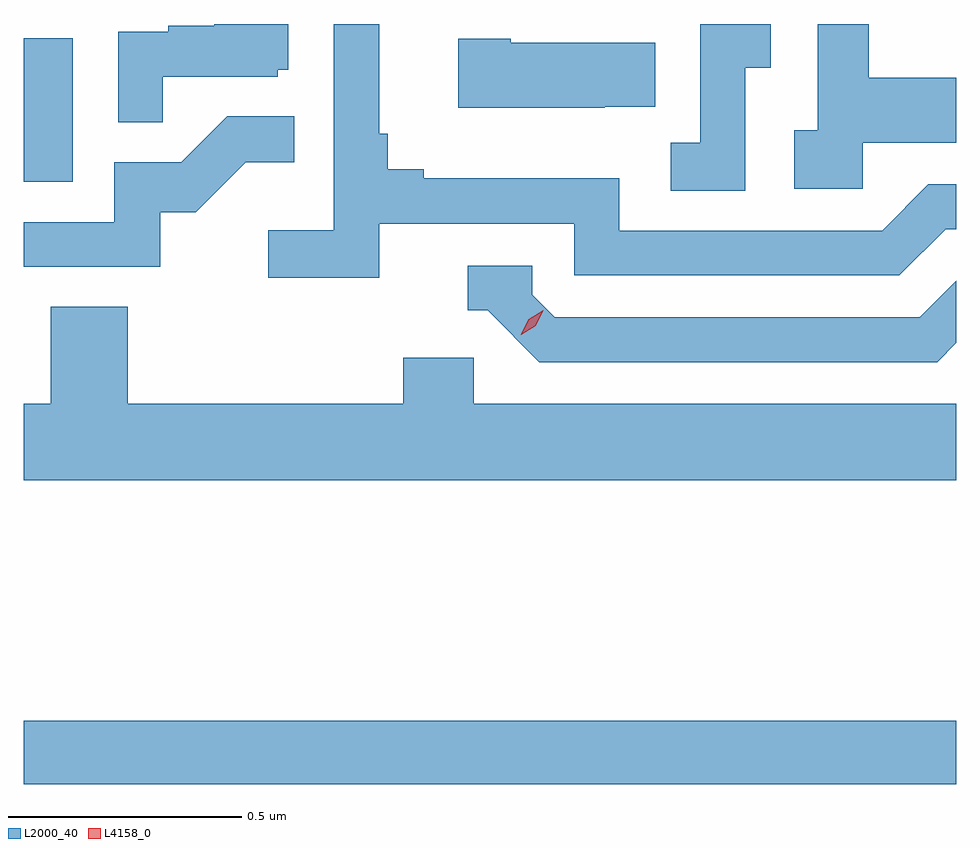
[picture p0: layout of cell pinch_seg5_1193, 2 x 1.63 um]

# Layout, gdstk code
import gdstk
lib = gdstk.Library(unit=1e-6, precision=1e-09)
def R(c, l, rs):  # rectangles x0, y0, x1, y1
    for r in rs: c.add(gdstk.rectangle(r[:2], r[2:], *l))
def P(c, l, *ps):  # polygons
    for p in ps: c.add(gdstk.Polygon(p, *l))
L2000_40 = (2000, 40)
L4158_0 = (4158, 0)

pinch_seg5_1193 = lib.new_cell('pinch_seg5_1193')
R(pinch_seg5_1193, L2000_40, [(846.031,852.112,848.031,852.248), (846.031,853.404,846.136,853.711)])
P(pinch_seg5_1193, L2000_40, [(846.794,853.314),(847.212,853.314),(847.212,853.203),(847.909,853.203),(848.008,853.302),(848.031,853.302),(848.031,853.398),(847.971,853.398),(847.872,853.299),(847.308,853.299),(847.308,853.411),(846.889,853.411),(846.889,853.43),(846.812,853.43),(846.812,853.507),(846.793,853.507),(846.793,853.742),(846.696,853.742),(846.696,853.3),(846.555,853.3),(846.555,853.198),(846.794,853.198)],
  [(847.578,853.648),(847.633,853.648),(847.633,853.742),(847.482,853.742),(847.482,853.487),(847.419,853.487),(847.419,853.384),(847.578,853.384)],
  [(847.83,853.487),(848.031,853.487),(848.031,853.627),(847.843,853.627),(847.843,853.742),(847.734,853.742),(847.734,853.514),(847.683,853.514),(847.683,853.389),(847.83,853.389)],
  [(846.329,853.629),(846.576,853.629),(846.576,853.644),(846.598,853.644),(846.598,853.742),(846.44,853.742),(846.44,853.738),(846.341,853.738),(846.341,853.725),(846.234,853.725),(846.234,853.531),(846.329,853.531)],
  [(847.277,853.565),(847.385,853.565),(847.385,853.702),(847.075,853.702),(847.075,853.71),(846.963,853.71),(846.963,853.562),(847.277,853.562)],
  [(846.324,853.338),(846.4,853.338),(846.507,853.445),(846.611,853.445),(846.611,853.544),(846.467,853.544),(846.369,853.446),(846.225,853.446),(846.225,853.317),(846.031,853.317),(846.031,853.221),(846.324,853.221)],
  [(848.031,853.058),(848.031,853.191),(847.953,853.113),(847.17,853.113),(847.122,853.161),(847.122,853.224),(846.983,853.224),(846.983,853.128),(847.026,853.128),(847.137,853.017),(847.99,853.017)],
  [(848.031,852.928),(846.996,852.928),(846.996,853.026),(846.845,853.026),(846.845,852.928),(846.254,852.928),(846.254,853.136),(846.089,853.136),(846.089,852.928),(846.031,852.928),(846.031,852.764),(848.031,852.764)])
P(pinch_seg5_1193, L4158_0, [(847.097,853.076),(847.097,853.076),(847.114,853.109),(847.145,853.128),(847.145,853.128),(847.145,853.128),(847.129,853.095),(847.098,853.076)])

lib.write_gds('pinch_seg5_1193.gds')
